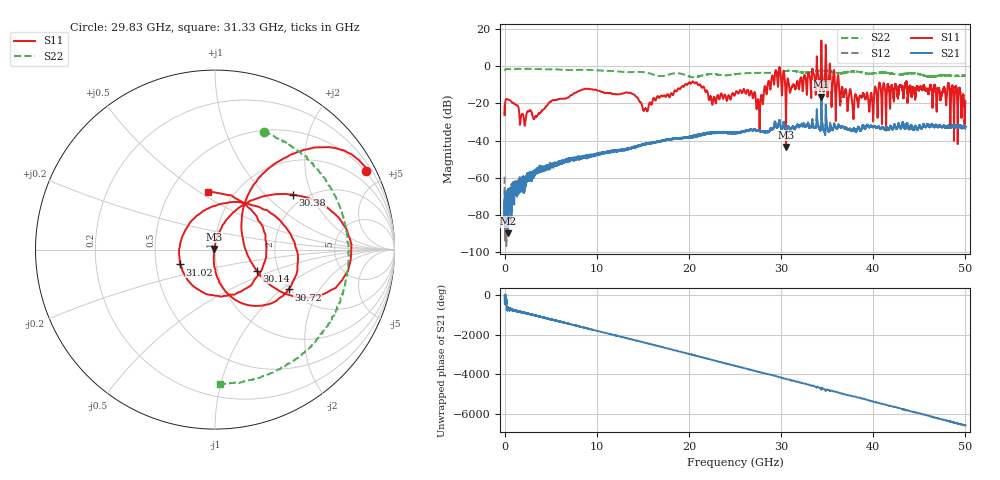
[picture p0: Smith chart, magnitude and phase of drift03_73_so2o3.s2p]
!Created with skrf (http://scikit-rf.org).
# Hz S RI R 50.0
!freq ReS11 ImS11 ReS21 ImS21 ReS12 ImS12 ReS22 ImS22
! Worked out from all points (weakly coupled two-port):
!   10001 points, 300 kHz to 50 GHz, reference 50 ohm
!   highest |S21| = -16.33 dB at 34.37 GHz (marker M1); lowest = -89.9 dB at 350.3 MHz (marker M2)
!   lowest |S11| = -43.4 dB at 30.53 GHz (marker M3), VSWR 1.01, Z = 49.4 + j0.355 ohm
!   |S11| at or under -10 dB: start of sweep to 19.55 GHz; 21.25 GHz to 28.55 GHz (7.297 GHz wide, 29.3 % of centre); 36.28 GHz to 40.61 GHz (4.333 GHz wide, 11.3 % of centre) (the widest 3 of 39)
!   |S22| runs from -5.9 to -1.3 dB; largest |S21 - S12| = 0.029
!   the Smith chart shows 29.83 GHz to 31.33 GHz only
!   S11 on the Smith chart (normalised r, x): 29.83 GHz: 0.45, +4.05; 30.14 GHz: 1.54, -0.39; 30.38 GHz: 1.73, +1.48; 30.72 GHz: 1.97, -1.12; 31.02 GHz: 0.67, -0.12; 31.33 GHz: 0.76, +0.54
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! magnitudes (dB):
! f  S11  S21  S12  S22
! 300 kHz  -21.3  -67.2  -59.4  -2.0
! 350.3 MHz  -17.8  -89.9  -75.1  -1.4
! 3.295 GHz  -27.3  -58.6  -58.2  -1.5
! 8.335 GHz  -12.6  -49.5  -48.8  -1.9
! 15.29 GHz  -22.7  -41.6  -41.8  -3.3
! 16.67 GHz  -16.6  -40.5  -40.6  -5.2
! 20.26 GHz  -9.2  -38.6  -38.3  -5.8
! 22.71 GHz  -16.5  -35.6  -35.5  -4.2
! 25 GHz  -15.2  -35.9  -35.8  -4.3
! 27.53 GHz  -17.8  -34.5  -34.5  -3.5
! 29.83 GHz  -0.4  -29.3  -28.5  -3.0
! 30.14 GHz  -11.7  -33.1  -33.5  -2.7
! 30.38 GHz  -5.5  -32.0  -32.4  -2.6
! 30.53 GHz  -43.4  -34.2  -34.1  -2.5
! 30.72 GHz  -6.6  -32.6  -32.6  -2.5
! 31.02 GHz  -13.5  -34.3  -34.3  -2.4
! 31.33 GHz  -9.9  -32.6  -32.4  -2.5
! 33.34 GHz  -7.5  -31.0  -31.2  -2.9
! 34.37 GHz  13.9  -16.3  -17.6  -2.3
! 37.87 GHz  -28.3  -33.7  -34.2  -2.9
! 41.67 GHz  -11.3  -34.3  -34.1  -3.7
! 50 GHz  -18.8  -32.6  -32.8  -4.9
